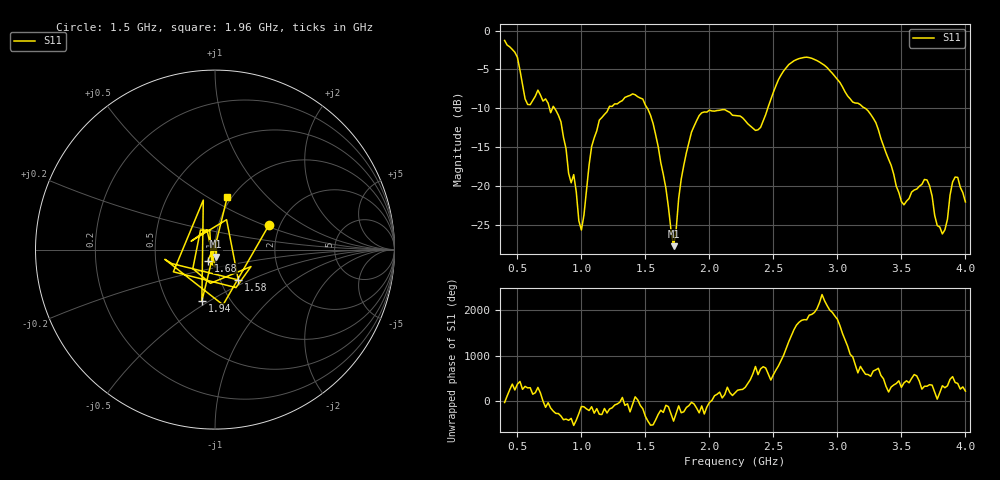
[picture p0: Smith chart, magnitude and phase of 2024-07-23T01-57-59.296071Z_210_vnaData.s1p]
!Created with skrf (http://scikit-rf.org).
# Hz S RI R 50.0
!freq ReS11 ImS11
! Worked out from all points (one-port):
!   181 points, 400 MHz to 4 GHz, reference 50 ohm
!   lowest |S11| = -27.8 dB at 1.72 GHz (marker M1), VSWR 1.09, Z = 50.6 - j4.07 ohm
!   |S11| at or under -10 dB: 789.8 MHz to 1.213 GHz (423.1 MHz wide, 42.3 % of centre); 1.515 GHz to 2.456 GHz (941.2 MHz wide, 47.4 % of centre); 3.216 GHz to end of sweep (the widest 3 of 4)
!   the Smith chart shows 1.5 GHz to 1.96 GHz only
!   S11 on the Smith chart (normalised r, x): 1.5 GHz: 1.75, +0.54; 1.58 GHz: 1.21, -0.43; 1.68 GHz: 0.92, -0.11; 1.94 GHz: 0.74, -0.46; 1.96 GHz: 0.95, +0.61
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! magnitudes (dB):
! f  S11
! 400 MHz  -1.3
! 500 MHz  -3.4
! 580 MHz  -9.5
! 660 MHz  -7.7
! 860 MHz  -13.8
! 1 GHz  -25.7
! 1.08 GHz  -14.9
! 1.14 GHz  -11.5
! 1.3 GHz  -9.2
! 1.5 GHz  -9.6
! 1.58 GHz  -13.4
! 1.68 GHz  -22.8
! 1.72 GHz  -27.8
! 1.76 GHz  -21.6
! 1.86 GHz  -13.1
! 1.94 GHz  -10.6
! 1.96 GHz  -10.5
! 2.2 GHz  -10.9
! 2.38 GHz  -12.8
! 2.66 GHz  -3.9
! 3.1 GHz  -8.8
! 3.3 GHz  -11.8
! 3.5 GHz  -22.0
! 3.56 GHz  -21.6
! 3.7 GHz  -19.2
! 3.82 GHz  -26.2
! 3.92 GHz  -18.9
! 4 GHz  -22.1
